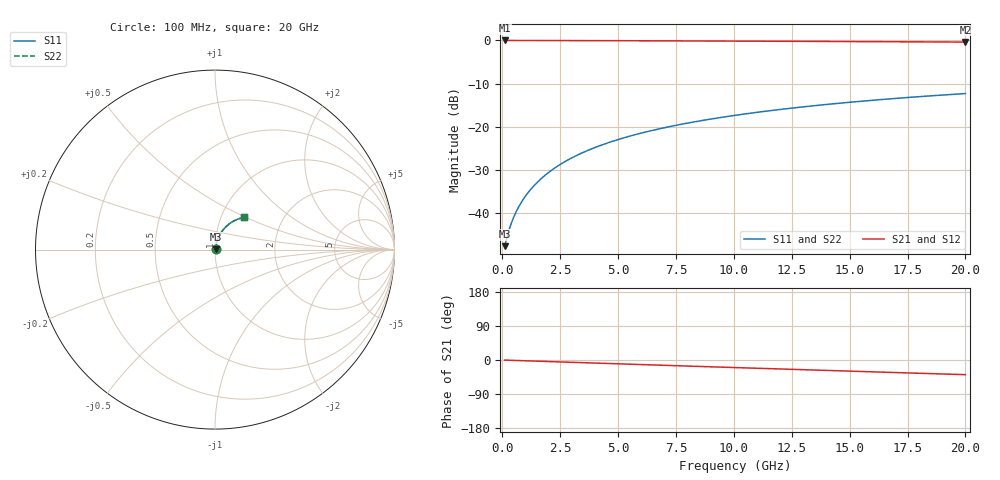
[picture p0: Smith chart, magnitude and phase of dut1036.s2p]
! Touchstone file exported from HFSS 2026.1.0
!  File:  C:/ffzhzh/LocalFiles/Ansys_Project_Files/temp_train_BSMRDL_1036_1783173685_43440.aedt
!  Generated:  10:02:32 PM Jul  4, 2026
!  Design:  BSMRDL
!  Project:  temp_train_BSMRDL_1036_1783173685_43440
! Variables:
!  h_bsmrdl = 3.77um
!  h_ox = 20um
!  h_rdl = 5um
!  h_sub = 80um
!  h_tmrdl = 5um
!  h_tsv = 80um
!  h_via = 3um
!  l_bsmrdl = 642.25um
!  l_sub = 1042.25um
!  l_tmrdl = 200um
!  m_sub = 200um
!  pitch = 27.7um
!  r_tsv = 6um
!  s_tmrdl = 10um
!  w_bsmrdl = 16.58um
!  w_sub = 500um
!  w_tmrdl = 12um
!  x_tsv_center1 = 206um
!  x_tsv_center2 = 864.83um
!  x_tsv_center3 = 1076.83um
!  x_tsv_center4 = 1735.66um
!  x_tsv_center5 = 1947.66um
!  x_tsv_center6 = 2606.49um
# GHz S MA R 50.000000
! Terminal data exported
! Port[1] = BSM_RDL1_1_T1
! Port[2] = BSM_RDL1_1_T2
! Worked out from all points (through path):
!   200 points, 100 MHz to 20 GHz, reference 50 ohm
!   highest |S21| = -0.03 dB at 100 MHz (marker M1); lowest = -0.4 dB at 20 GHz (marker M2)
!   group delay of S21, straight-line fit = 5.37 ps
!   lowest |S11| = -47.6 dB at 100 MHz (marker M3), VSWR 1.01, Z = 50.4 + j0.176 ohm
!   |S11| at or under -10 dB: start of sweep to end of sweep
!   |S22| runs from -47.6 to -12.3 dB; largest |S21 - S12| = 3.4e-15
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0.1  0.00418 24.7  0.9962 -0.2  0.9962 -0.2  0.00418 24.7
! Gamma 0 0 0 0
! Port Impedance 50 0 50 0
0.3  0.006526 49.5  0.9958 -0.6  0.9958 -0.6  0.006526 49.5
0.4  0.007835 55.2  0.9956 -0.9  0.9956 -0.9  0.007835 55.2
0.5  0.009147 59.2  0.9954 -1.1  0.9954 -1.1  0.009146 59.2
0.6  0.01046 62.2  0.9953 -1.3  0.9953 -1.3  0.01046 62.2
0.8  0.01312 66.6  0.9951 -1.7  0.9951 -1.7  0.01312 66.6
1  0.01582 69.6  0.9949 -2.1  0.9949 -2.1  0.01582 69.6
1.2  0.01856 71.6  0.9948 -2.5  0.9948 -2.5  0.01856 71.6
1.4  0.02133 73.0  0.9946 -2.9  0.9946 -2.9  0.02133 73.0
1.7  0.02552 74.4  0.9944 -3.5  0.9944 -3.5  0.02552 74.4
2.2  0.03255 75.6  0.9939 -4.5  0.9939 -4.5  0.03255 75.6
2.8  0.04098 75.9  0.9932 -5.7  0.9932 -5.7  0.04098 75.9
3.5  0.05076 75.6  0.9923 -7.1  0.9923 -7.1  0.05076 75.6
4.2  0.06043 74.9  0.9913 -8.5  0.9913 -8.5  0.06043 74.9
5  0.07133 73.8  0.9899 -10.1  0.9899 -10.1  0.07133 73.8
5.9  0.08336 72.4  0.9882 -11.9  0.9882 -11.9  0.08336 72.4
6.8  0.09516 70.9  0.9864 -13.7  0.9864 -13.7  0.09515 70.9
8.3  0.1143 68.3  0.9833 -16.6  0.9833 -16.6  0.1143 68.3
10.1  0.1364 65.1  0.9792 -20.1  0.9792 -20.1  0.1364 65.1
13.4  0.1748 59.3  0.9714 -26.4  0.9714 -26.4  0.1748 59.3
16.7  0.2102 53.5  0.9631 -32.6  0.9631 -32.6  0.2102 53.5
20  0.2425 47.7  0.9545 -38.7  0.9545 -38.7  0.2425 47.7
